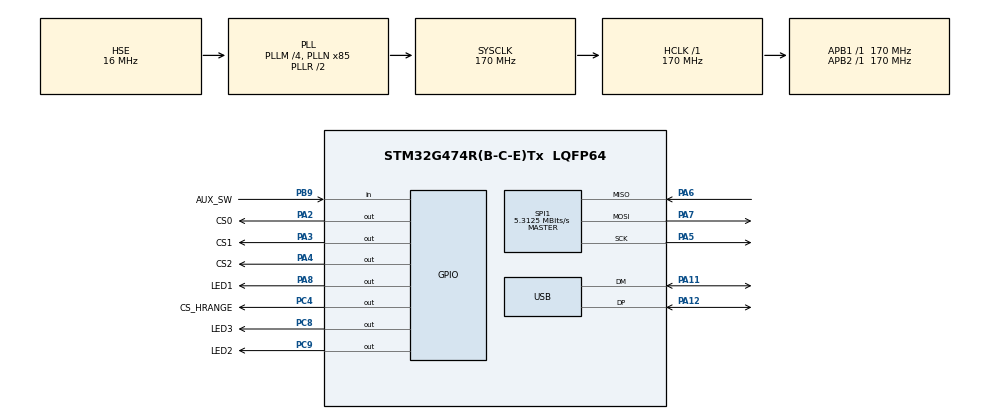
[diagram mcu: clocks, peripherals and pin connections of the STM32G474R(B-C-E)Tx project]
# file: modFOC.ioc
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Mcu.Family=STM32G4
Mcu.Name=STM32G474R(B-C-E)Tx
Mcu.Package=LQFP64
NVIC.PriorityGroup=NVIC_PRIORITYGROUP_4
NVIC.USB_LP_IRQn=true\:0\:0\:false\:false\:true\:false\:true
PA11.Mode=Device
PA11.Signal=USB_DM
PA12.Mode=Device
PA12.Signal=USB_DP
PA13.GPIO_Label=T_SWDIO
PA13.Mode=Trace_Asynchronous_SW
PA13.Signal=SYS_JTMS-SWDIO
PA14.GPIO_Label=T_SWCLK
PA14.Mode=Trace_Asynchronous_SW
PA14.Signal=SYS_JTCK-SWCLK
PA2.GPIO_Label=CS0
PA2.Signal=GPIO_Output
PA3.GPIO_Label=CS1
PA3.Signal=GPIO_Output
PA4.GPIO_Label=CS2
PA4.Signal=GPIO_Output
PA5.Mode=Full_Duplex_Master
PA5.Signal=SPI1_SCK
PA6.Mode=Full_Duplex_Master
PA6.Signal=SPI1_MISO
PA7.Mode=Full_Duplex_Master
PA7.Signal=SPI1_MOSI
PA8.GPIO_Label=LED1
PA8.Signal=GPIO_Output
PB3.GPIO_Label=T_SWO
PB3.Mode=Trace_Asynchronous_SW
PB3.Signal=SYS_JTDO-SWO
PB9.GPIO_Label=AUX_SW
PB9.Signal=GPIO_Input
PC4.GPIO_Label=CS_HRANGE
PC4.Signal=GPIO_Output
PC8.GPIO_Label=LED3
PC8.Signal=GPIO_Output
PC9.GPIO_Label=LED2
PC9.Signal=GPIO_Output
PF0-OSC_IN.Mode=HSE-External-Oscillator
PF0-OSC_IN.Signal=RCC_OSC_IN
PF1-OSC_OUT.Mode=HSE-External-Oscillator
PF1-OSC_OUT.Signal=RCC_OSC_OUT
ProjectManager.HeapSize=0x200
ProjectManager.StackSize=0x400
ProjectManager.TargetToolchain=STM32CubeIDE
RCC.ADC12Freq_Value=170000000
RCC.ADC345Freq_Value=170000000
RCC.AHBFreq_Value=170000000
RCC.APB1Freq_Value=170000000
RCC.APB1TimFreq_Value=170000000
RCC.APB2Freq_Value=170000000
RCC.APB2TimFreq_Value=170000000
RCC.CK48CLockSelection=RCC_USBCLKSOURCE_HSI48
RCC.CortexFreq_Value=170000000
RCC.EXTERNAL_CLOCK_VALUE=12288000
RCC.EnbaleCSS=true
RCC.HCLKFreq_Value=170000000
RCC.HSE_VALUE=16000000
RCC.HSI48_VALUE=48000000
RCC.HSI_VALUE=16000000
RCC.LSE_VALUE=32768
RCC.PLLM=RCC_PLLM_DIV4
RCC.PLLN=85
RCC.PLLSourceVirtual=RCC_PLLSOURCE_HSE
RCC.RTCClockSelection=RCC_RTCCLKSOURCE_LSE
RCC.SYSCLKFreq_VALUE=170000000
RCC.SYSCLKSource=RCC_SYSCLKSOURCE_PLLCLK
RCC.USBFreq_Value=48000000
RCC.VCOOutputFreq_Value=340000000
SPI1.BaudRatePrescaler=SPI_BAUDRATEPRESCALER_32
SPI1.CLKPhase=SPI_PHASE_2EDGE
SPI1.CLKPolarity=SPI_POLARITY_HIGH
SPI1.CalculateBaudRate=5.3125 MBits/s
SPI1.DataSize=SPI_DATASIZE_8BIT
SPI1.Direction=SPI_DIRECTION_2LINES
SPI1.Mode=SPI_MODE_MASTER
SPI1.VirtualType=VM_MASTER
USB_DEVICE.CLASS_NAME_FS=CDC
USB_DEVICE.MANUFACTURER_STRING=modFOC
USB_DEVICE.PID_CDC_FS=420
USB_DEVICE.PRODUCT_STRING_CDC_FS=modFOC-ESC
USB_DEVICE.USBD_LPM_ENABLED=0
USB_DEVICE.VID=69
USB_DEVICE.VirtualMode=Cdc
USB_DEVICE.VirtualModeFS=Cdc_FS
VP_SYS_VS_DBSignals.Mode=DisableDeadBatterySignals
VP_USB_DEVICE_VS_USB_DEVICE_CDC_FS.Mode=CDC_FS
board=NUCLEO-G474RE

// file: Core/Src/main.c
/* USER CODE BEGIN Header */
/**
 ******************************************************************************
 * @file           : main.c
 * @brief          : Main program body
 ******************************************************************************
 * @attention
 *
 * <h2><center>&copy; Copyright (c) 2021 STMicroelectronics.
 * All rights reserved.</center></h2>
 *
 * This software component is licensed by ST under Ultimate Liberty license
 * SLA0044, the "License"; You may not use this file except in compliance with
 * the License. You may obtain a copy of the License at:
 *                             www.st.com/SLA0044
 *
 ******************************************************************************
 */
/* USER CODE END Header */
#include "main.h"
#include "spi.h"
#include "usb_device.h"
#include "gpio.h"

/* USER CODE BEGIN Includes */
#include "usbd_cdc_if.h"
#include "TMC4671.h"
#include "TMC4671_Constants.h"
#include "TMCL.h"
#include "ESC.h"
/* USER CODE END Includes */

/* USER CODE BEGIN PV */
_Bool RUN_MODE;	//0-Normal	1-TMCL
/* USER CODE END PV */

void SystemClock_Config(void);
/* USER CODE BEGIN PFP */
uint8_t tmc4671_readwriteByte(uint8_t motor, uint8_t data, uint8_t lastTransfer);
/* USER CODE END PFP */

/* USER CODE BEGIN 0 */
int _write(int file, char *ptr, int len)
{
	for (int i = 0; i < len; i++)
	{
		ITM_SendChar(*ptr++);
	}
	return len;
}
/* USER CODE END 0 */

int main(void)
{

  /* MCU Configuration--------------------------------------------------------*/

  /* Reset of all peripherals, Initializes the Flash interface and the Systick. */
  HAL_Init();

  /* Configure the system clock */
  SystemClock_Config();

  /* Initialize all configured peripherals */
  MX_GPIO_Init();
  MX_USB_Device_Init();
  MX_SPI1_Init();
  /* USER CODE BEGIN 2 */
	//Indicate Initialization
	HAL_GPIO_WritePin(LED_GPIO_Port, LED1_Pin | LED2_Pin | LED3_Pin, GPIO_PIN_SET);
	//Wait for TMC boot
	HAL_Delay(500);
	//Determine Run Mode
	RUN_MODE = HAL_GPIO_ReadPin(AUX_SW_GPIO_Port, AUX_SW_Pin);
	//Setup GPIOs and calibrate ADC offset
	tmc4671_disablePWM(DEFAULT_MC);

	//Wait for sufficient supply voltage
	while (getVM(DEFAULT_MC) < 65);

	//Calibrate the shunt amplifiers of the default motion controller
	activatePowerStage(DEFAULT_MC);

	//Init the default motion controller
	if (RUN_MODE == RM_ESC)
	{
		initMotionController(DEFAULT_MC);
	}

	//Indicate Initialization finished
	HAL_GPIO_WritePin(LED_GPIO_Port, LED1_Pin | LED2_Pin | LED3_Pin, GPIO_PIN_RESET);
  /* USER CODE END 2 */

  /* Infinite loop */
  /* USER CODE BEGIN WHILE */
	while (1)
	{
		if (RUN_MODE == RM_TMCL)
		{
			tmcl_processCommand();
		}
		if (RUN_MODE == RM_ESC)
		{
			tmc4671_writeInt(DEFAULT_MC, TMC4671_MODE_RAMP_MODE_MOTION, 0x00000001);
			tmc4671_writeInt(DEFAULT_MC, TMC4671_PID_TORQUE_FLUX_TARGET, 0x03E80000);
		}
		/*
		 if (getVM(DEFAULT_MC) < 65)
		 {
		 HAL_GPIO_WritePin(LED_GPIO_Port, LED1_Pin | LED2_Pin | LED3_Pin, GPIO_PIN_SET);
		 tmc4671_writeInt(DEFAULT_MC, TMC4671_PID_TORQUE_FLUX_TARGET, 0x00000000);
		 if (RUN_MODE == RM_ESC)
		 {
		 tmc4671_disablePWM(DEFAULT_MC);
		 while (getVM(DEFAULT_MC) < 65);
		 calibrateShuntAmplifier(DEFAULT_MC);
		 initMotionController(DEFAULT_MC);
		 }
		 HAL_Delay(500);
		 HAL_GPIO_WritePin(LED_GPIO_Port, LED1_Pin | LED2_Pin | LED3_Pin, GPIO_PIN_RESET);
		 }
		 */
    /* USER CODE END WHILE */

	}
}

void SystemClock_Config(void)
{
  RCC_OscInitTypeDef RCC_OscInitStruct = {0};
  RCC_ClkInitTypeDef RCC_ClkInitStruct = {0};

  /** Configure the main internal regulator output voltage
  */
  HAL_PWREx_ControlVoltageScaling(PWR_REGULATOR_VOLTAGE_SCALE1_BOOST);
  /** Initializes the RCC Oscillators according to the specified parameters
  * in the RCC_OscInitTypeDef structure.
  */
  RCC_OscInitStruct.OscillatorType = RCC_OSCILLATORTYPE_HSI48|RCC_OSCILLATORTYPE_HSE;
  RCC_OscInitStruct.HSEState = RCC_HSE_ON;
  RCC_OscInitStruct.HSI48State = RCC_HSI48_ON;
  RCC_OscInitStruct.PLL.PLLState = RCC_PLL_ON;
  RCC_OscInitStruct.PLL.PLLSource = RCC_PLLSOURCE_HSE;
  RCC_OscInitStruct.PLL.PLLM = RCC_PLLM_DIV4;
  RCC_OscInitStruct.PLL.PLLN = 85;
  RCC_OscInitStruct.PLL.PLLP = RCC_PLLP_DIV2;
  RCC_OscInitStruct.PLL.PLLQ = RCC_PLLQ_DIV2;
  RCC_OscInitStruct.PLL.PLLR = RCC_PLLR_DIV2;
  if (HAL_RCC_OscConfig(&RCC_OscInitStruct) != HAL_OK)
  {
    Error_Handler();
  }
  /** Initializes the CPU, AHB and APB buses clocks
  */
  RCC_ClkInitStruct.ClockType = RCC_CLOCKTYPE_HCLK|RCC_CLOCKTYPE_SYSCLK
                              |RCC_CLOCKTYPE_PCLK1|RCC_CLOCKTYPE_PCLK2;
  RCC_ClkInitStruct.SYSCLKSource = RCC_SYSCLKSOURCE_PLLCLK;
  RCC_ClkInitStruct.AHBCLKDivider = RCC_SYSCLK_DIV1;
  RCC_ClkInitStruct.APB1CLKDivider = RCC_HCLK_DIV1;
  RCC_ClkInitStruct.APB2CLKDivider = RCC_HCLK_DIV1;

  if (HAL_RCC_ClockConfig(&RCC_ClkInitStruct, FLASH_LATENCY_4) != HAL_OK)
  {
    Error_Handler();
  }
  /** Enables the Clock Security System
  */
  HAL_RCC_EnableCSS();
}

/* USER CODE BEGIN 4 */
uint8_t tmc4671_readwriteByte(uint8_t motor, uint8_t data, uint8_t lastTransfer)
{
	uint8_t buffer;
	HAL_GPIO_WritePin(CS_HRANGE_GPIO_Port, CS_HRANGE_Pin, GPIO_PIN_SET);

	HAL_GPIO_WritePin(CS0_GPIO_Port, (CS2_Pin * ((motor >> 2) & 0x01)) | (CS1_Pin * ((motor >> 1) & 0x01)) | (CS0_Pin * ((motor >> 0) & 0x01)), GPIO_PIN_RESET);

	HAL_SPI_TransmitReceive(&hspi1, &data, &buffer, 1, 100);

	if (lastTransfer)
	{
		HAL_GPIO_WritePin(CS0_GPIO_Port, (CS2_Pin * ((motor >> 2) & 0x01)) | (CS1_Pin * ((motor >> 1) & 0x01)) | (CS0_Pin * ((motor >> 0) & 0x01)), GPIO_PIN_SET);
	}

	return buffer;
}
/* USER CODE END 4 */

void Error_Handler(void)
{
	__disable_irq();
	while (1)
	{
	}
}
